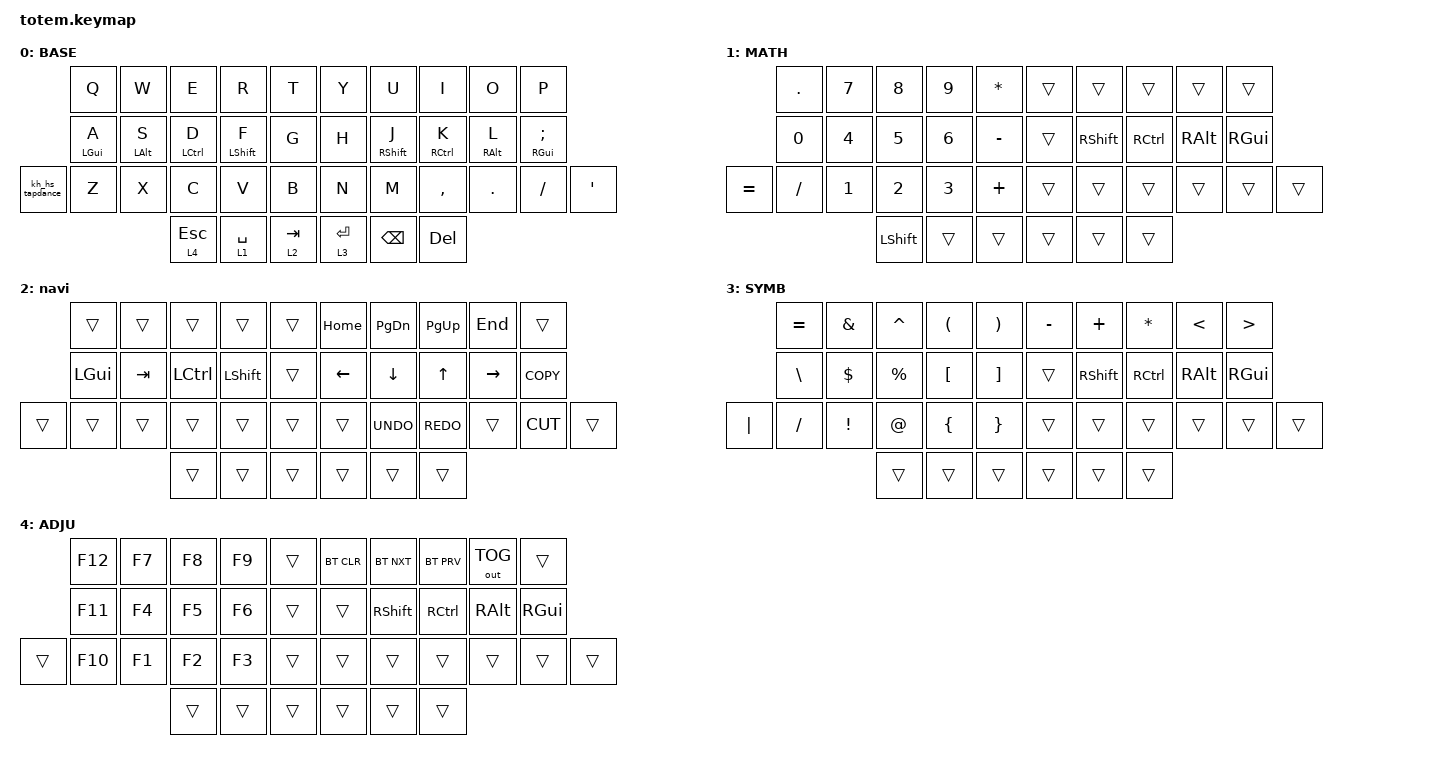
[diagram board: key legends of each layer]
//
//                                                        ▀▀▀▀▀     ▀▀▀▀▀          ▀▀█▀▀
//                                                        ▄▀▀▀▄  ▄  ▄▀▀▀▄  ▄  ▄▀▀▀▄  █  ▄▀▀▀▄
//                                                        █   █  █  █   █  █  █   █  █  █   █
//                                                         ▀▀▀   █   ▀▀▀   █   ▀▀▀   ▀   ▀▀▀
//                                                               █      ▄▄▄█▄▄▄    █   █  
//                                                               ▀      █  █  █     █▄█
//                                                             ▀▀▀▀▀    █  █  █      ▀
//                                                                      ▀  ▀  ▀
//
// ▄▄▄▄▄▄▄▄▄▄▄▄▄▄▄▄▄▄▄▄▄▄▄▄▄▄▄▄▄▄▄▄▄▄▄▄▄▄▄▄▄▄▄▄▄▄▄▄▄▄▄▄▄▄▄▄▄▄▄▄▄▄▄▄▄▄▄▄▄▄▄▄▄▄▄▄▄▄▄▄▄▄▄▄▄▄▄▄▄▄▄▄▄▄▄▄▄▄▄▄▄▄▄▄▄▄▄▄▄▄▄▄▄▄▄▄▄▄▄▄▄▄▄▄▄▄▄▄▄▄▄▄▄▄▄▄▄▄▄▄▄▄▄▄▄▄▄▄▄

#define BASE 0
#define MATH 1
#define SYMB 2
#define ADJU  3

#include <behaviors.dtsi>
#include <dt-bindings/zmk/bt.h>
#include <dt-bindings/zmk/keys.h>
#include <dt-bindings/zmk/outputs.h>

/ {
    combos {
        compatible = "zmk,combos";

        combo_esc {
            timeout-ms = <50>;
            key-positions = <0 1>;
            bindings = <&kp ESC>;
        };

        tabCombo {
            bindings = <&kp TAB>;
            key-positions = <10 11>;
        };

        tildeComb {
            bindings = <&kp TILDE>;
            key-positions = <20 0>;
        };
    };

    behaviors {
        ss_hs_modmorph: ss_hs_modmorph {
            compatible = "zmk,behavior-mod-morph";
            label = "SS_HS_MODMORPH";
            bindings = <&kp M>, <&kp RIGHT_BRACKET>;

            #binding-cells = <0>;
            mods = <(MOD_LSFT|MOD_RSFT)>;
        };

        kh_hs_tapdance: kh_hs_tapdance {
            compatible = "zmk,behavior-tap-dance";
            label = "KH_HS_TAPDANCE";
            #binding-cells = <0>;
            tapping-term-ms = <200>;
            bindings = <&kp LEFT_BRACKET>, <&kp RIGHT_BRACKET>;
        };

        hrm: hrm {
            compatible = "zmk,behavior-hold-tap";
            #binding-cells = <2>;
            flavor = "tap-preferred";
            tapping-term-ms = <200>;
            quick-tap-ms = <200>;
            require-prior-idle-ms = <125>;
            bindings = <&kp>, <&kp>;
        };
    };

    macros {
        new_macro: new_macro {
            compatible = "zmk,behavior-macro";
            #binding-cells = <0>;
            bindings = <&none>;
            label = "NEW_MACRO";
        };
    };

    keymap {
        compatible = "zmk,keymap";

        base {
            label = "BASE";
            bindings = <
                 &kp Q        &kp W        &kp E         &kp R         &kp T        &kp Y        &kp U          &kp I         &kp O        &kp P
                 &hrm LGUI A  &hrm LALT S  &hrm LCTRL D  &hrm LSHFT F  &kp G        &kp H        &hrm RSHFT J   &hrm RCTRL K  &hrm RALT L  &hrm RGUI SEMICOLON
&kh_hs_tapdance  &kp Z        &kp X        &kp C         &kp V         &kp B        &kp N        &kp M          &kp COMMA     &kp DOT      &kp FSLH             &kp SQT
                                           &lt 4 ESCAPE  &lt 1 SPACE   &lt 2 TAB    &lt 3 ENTER  &kp BACKSPACE  &kp DELETE
            >;
        };

        math {
            label = "MATH";
            bindings = <
           &kp DOT    &kp N7        &kp N8          &kp N9        &kp ASTERISK    &trans  &trans           &trans     &trans         &trans
           &kp N0     &kp NUMBER_4  &kp N5          &kp N6        &kp MINUS       &trans  &kp RIGHT_SHIFT  &kp RCTRL  &kp RIGHT_ALT  &kp RIGHT_GUI
&kp EQUAL  &kp SLASH  &kp NUMBER_1  &kp NUMBER_2    &kp NUMBER_3  &kp PLUS        &trans  &trans           &trans     &trans         &trans         &trans
                                    &kp LEFT_SHIFT  &trans        &trans          &trans  &trans           &trans
            >;
        };

        navi {
            bindings = <
        &trans    &trans   &trans     &trans          &trans    &kp HOME  &kp PAGE_DOWN  &kp PG_UP   &kp END    &trans
        &kp LGUI  &kp TAB  &kp LCTRL  &kp LEFT_SHIFT  &trans    &kp LEFT  &kp DOWN       &kp UP      &kp RIGHT  &kp K_COPY
&trans  &trans    &trans   &trans     &trans          &trans    &trans    &kp K_UNDO     &kp K_REDO  &trans     &kp K_CUT   &trans
                           &trans     &trans          &trans    &trans    &trans         &trans
            >;
        };

        symb {
            label = "SYMB";
            bindings = <
          &kp EQUAL      &kp AMPERSAND    &kp CARET    &kp LPAR          &kp RIGHT_PARENTHESIS    &kp MINUS  &kp PLUS   &kp ASTRK  &kp LT    &kp GT
          &kp BACKSLASH  &kp DOLLAR       &kp PERCENT  &kp LEFT_BRACKET  &kp RIGHT_BRACKET        &trans     &kp RSHFT  &kp RCTRL  &kp RALT  &kp RGUI
&kp PIPE  &kp SLASH      &kp EXCLAMATION  &kp AT_SIGN  &kp LEFT_BRACE    &kp RIGHT_BRACE          &trans     &trans     &trans     &trans    &trans    &trans
                                          &trans       &trans            &trans                   &trans     &trans     &trans
            >;
        };

        func {
            label = "ADJU";
            bindings = <
        &kp F12  &kp F7  &kp F8  &kp F9  &trans    &bt BT_CLR  &bt BT_NXT  &bt BT_PRV  &out OUT_TOG  &trans
        &kp F11  &kp F4  &kp F5  &kp F6  &trans    &trans      &kp RSHIFT  &kp RCTRL   &kp RALT      &kp RGUI
&trans  &kp F10  &kp F1  &kp F2  &kp F3  &trans    &trans      &trans      &trans      &trans        &trans    &trans
                         &trans  &trans  &trans    &trans      &trans      &trans
            >;
        };
    };
};
